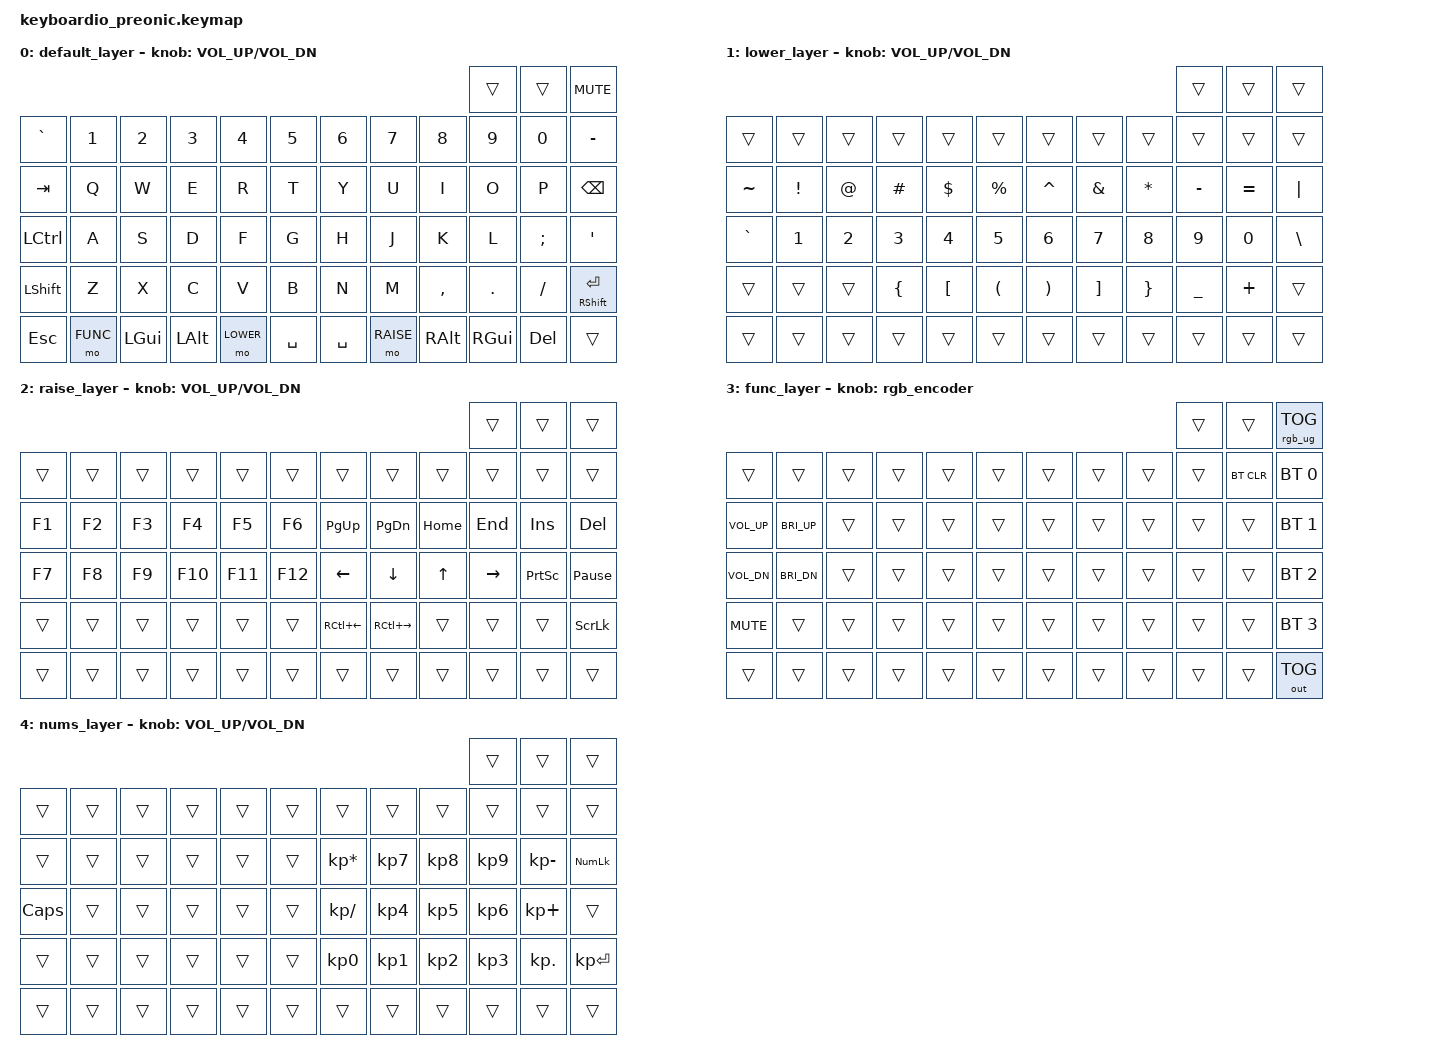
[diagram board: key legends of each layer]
/*
 * Copyright (c) 2025 The ZMK Contributors
 * SPDX-License-Identifier: MIT
 */

#include <behaviors.dtsi>
#include <dt-bindings/zmk/keys.h>
#include <dt-bindings/zmk/bt.h>
#include <dt-bindings/zmk/outputs.h>
#include <dt-bindings/zmk/rgb.h>


#define DEFAULT 0
#define LOWER   1
#define RAISE   2
#define FUNC    3
#define NUMS    4

/ {
    chosen {
        widget_rgb = &butterfly;
    };

    aliases {
        status-ws2812 = &butterfly;
    };

    chosen {
        // Valid choices: '&mit_layout', '&ortho_layout'.
        zmk,physical-layout = &ortho_layout;
    };

    conditional_layers {
        compatible="zmk,conditional-layers";
        tri_layer {
            if-layers = <LOWER RAISE>;
            then-layer = <NUMS>;
        };
    };

    behaviors {
        rgb_encoder: rgb_encoder {
            compatible = "zmk,behavior-sensor-rotate";
            #sensor-binding-cells = <0>;
            bindings = <&rgb_ug RGB_BRI>, <&rgb_ug RGB_BRD>;
        };
    };

    keymap {
        compatible = "zmk,keymap";

        default_layer {
            bindings = <
                                                                                         &trans   &trans   &kp C_MUTE
    &kp GRAVE  &kp N1   &kp N2   &kp N3   &kp N4    &kp N5    &kp N6     &kp N7    &kp N8    &kp N9   &kp N0   &kp MINUS
    &kp TAB    &kp Q    &kp W    &kp E    &kp R     &kp T     &kp Y      &kp U     &kp I     &kp O    &kp P    &kp BSPC
    &kp LCTRL  &kp A    &kp S    &kp D    &kp F     &kp G     &kp H      &kp J     &kp K     &kp L    &kp SEMI &kp SQT
    &kp LSHIFT &kp Z    &kp X    &kp C    &kp V     &kp B     &kp N      &kp M     &kp COMMA &kp DOT  &kp FSLH &mt RSHIFT ENTER
    &kp ESC    &mo FUNC &kp LGUI &kp LALT &mo LOWER &kp SPACE &kp SPACE &mo RAISE &kp RALT  &kp RGUI &kp DEL  &trans
            >;
            sensor-bindings = <&inc_dec_kp C_VOL_UP C_VOL_DN>;
        };

        lower_layer {
            bindings = <
                                                                                       &trans    &trans    &trans
    &trans    &trans   &trans &trans   &trans   &trans    &trans    &trans   &trans    &trans    &trans    &trans
    &kp TILDE &kp EXCL &kp AT &kp HASH &kp DLLR &kp PRCNT &kp CARET &kp AMPS &kp ASTRK &kp MINUS &kp EQUAL &kp PIPE
    &kp GRAVE &kp N1   &kp N2 &kp N3   &kp N4   &kp N5    &kp N6    &kp N7   &kp N8    &kp N9    &kp N0    &kp BSLH
    &trans    &trans   &trans &kp LBRC &kp LBKT &kp LPAR  &kp RPAR  &kp RBKT &kp RBRC  &kp UNDER &kp PLUS  &trans
    &trans    &trans   &trans &trans   &trans   &trans    &trans    &trans   &trans    &trans    &trans    &trans
            >;
            sensor-bindings = <&inc_dec_kp C_VOL_UP C_VOL_DN>;
        };

        raise_layer {
            bindings = <
                                                                                     &trans    &trans    &trans
    &trans &trans &trans &trans  &trans  &trans  &trans       &trans        &trans   &trans    &trans    &trans
    &kp F1 &kp F2 &kp F3 &kp F4  &kp F5  &kp F6  &kp PG_UP    &kp PG_DN     &kp HOME &kp END   &kp INS   &kp DEL
    &kp F7 &kp F8 &kp F9 &kp F10 &kp F11 &kp F12 &kp LEFT     &kp DOWN      &kp UP   &kp RIGHT &kp PSCRN &kp PAUSE_BREAK
    &trans &trans &trans &trans  &trans  &trans  &kp RC(LEFT) &kp RC(RIGHT) &trans   &trans    &trans    &kp SLCK
    &trans &trans &trans &trans  &trans  &trans  &trans       &trans        &trans   &trans    &trans    &trans
            >;
            sensor-bindings = <&inc_dec_kp C_VOL_UP C_VOL_DN>;
        };

        func_layer {
            bindings = <
                                                                               &trans &trans     &rgb_ug RGB_TOG
    &trans       &trans       &trans &trans &trans &trans &trans &trans &trans &trans &bt BT_CLR &bt BT_SEL 0
    &kp C_VOL_UP &kp C_BRI_UP &trans &trans &trans &trans &trans &trans &trans &trans &trans     &bt BT_SEL 1
    &kp C_VOL_DN &kp C_BRI_DN &trans &trans &trans &trans &trans &trans &trans &trans &trans     &bt BT_SEL 2
    &kp C_MUTE   &trans       &trans &trans &trans &trans &trans &trans &trans &trans &trans     &bt BT_SEL 3
    &trans       &trans       &trans &trans &trans &trans &trans &trans &trans &trans &trans     &out OUT_TOG
            >;
            sensor-bindings = <&rgb_encoder>;
        };

        nums_layer {
            bindings = <
                                                                                    &trans    &trans       &trans
    &trans   &trans &trans &trans &trans &trans &trans          &trans    &trans    &trans    &trans       &trans
    &trans   &trans &trans &trans &trans &trans &kp KP_ASTERISK &kp KP_N7 &kp KP_N8 &kp KP_N9 &kp KP_MINUS &kp KP_NUM
    &kp CAPS &trans &trans &trans &trans &trans &kp KP_SLASH    &kp KP_N4 &kp KP_N5 &kp KP_N6 &kp KP_PLUS  &trans
    &trans   &trans &trans &trans &trans &trans &kp KP_N0       &kp KP_N1 &kp KP_N2 &kp KP_N3 &kp KP_DOT   &kp KP_ENTER
    &trans   &trans &trans &trans &trans &trans &trans          &trans    &trans    &trans    &trans       &trans
            >;
            sensor-bindings = <&inc_dec_kp C_VOL_UP C_VOL_DN>;
        };
    };
};
